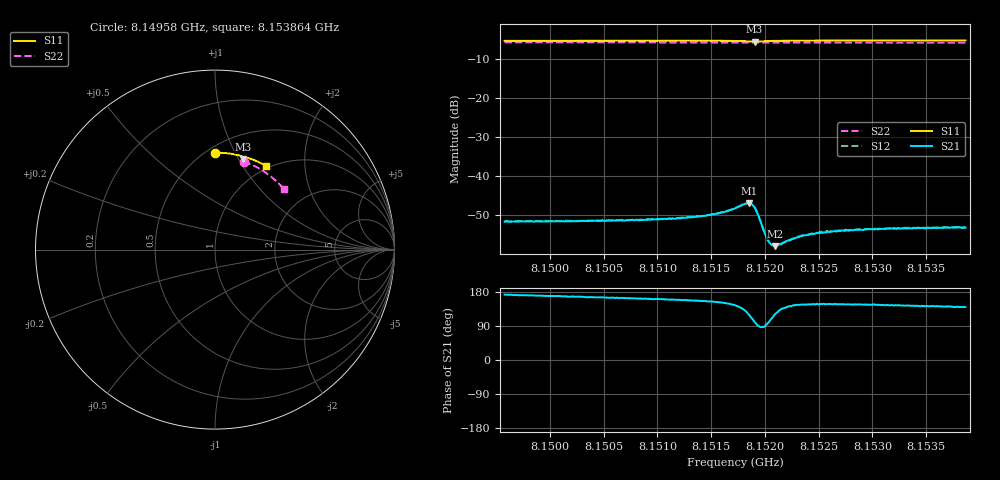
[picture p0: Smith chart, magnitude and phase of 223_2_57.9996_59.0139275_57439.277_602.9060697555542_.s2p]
#  HZ  S  RI  R  50.00
! Rohde & Schwarz Vector Network Analyzer
! Rohde-Schwarz,ZNB20-2Port,1311601062101988,3.16
! Created: UTC 3/21/2024, 1:00:14 AM
! freq[Hz]  re:S11  im:S11  re:S21  im:S21  re:S12  im:S12  re:S22  im:S22
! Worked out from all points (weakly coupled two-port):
!   401 points, 8.14958 GHz to 8.153864 GHz, reference 50 ohm
!   highest |S21| = -46.88 dB at 8.151851 GHz (marker M1); lowest = -57.8 dB at 8.152097 GHz (marker M2)
!   lowest |S11| = -5.6 dB at 8.151904 GHz (marker M3), VSWR 3.23, Z = 37.3 + j52.1 ohm
!   |S11| at or under -10 dB: nowhere
!   |S22| runs from -5.8 to -5.7 dB; largest |S21 - S12| = 0.00013
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8.14958e9  0.000957 0.5394  -0.00261 0.000342  -0.00262 0.00041  0.1598 0.4905
8.1502976e9  0.0512 0.5381  -0.00261 0.000618  -0.00261 0.000677  0.2031 0.4733
8.1510152e9  0.1013 0.5321  -0.00265 0.000926  -0.00268 0.000977  0.2444 0.4523
8.1513044e9  0.1219 0.528  -0.00275 0.00115  -0.00273 0.00122  0.2604 0.4428
8.1514757e9  0.1341 0.5249  -0.00288 0.00138  -0.00289 0.00143  0.2699 0.437
8.1516364e9  0.1464 0.5207  -0.00309 0.00177  -0.00308 0.00182  0.2784 0.4312
8.1517221e9  0.1532 0.5173  -0.00317 0.00226  -0.00314 0.00236  0.283 0.4281
8.1518077e9  0.1589 0.5108  -0.00293 0.00327  -0.00291 0.00335  0.2874 0.4248
8.1518506e9  0.1592 0.5064  -0.0023 0.0039  -0.00223 0.00397  0.2895 0.4231
8.1518827e9  0.1571 0.5042  -0.00139 0.0041  -0.00135 0.00417  0.2909 0.422
8.1519041e9  0.1554 0.504  -0.000724 0.00395  -0.000634 0.00396  0.2921 0.4211
8.1519363e9  0.1536 0.5062  -3.77e-05 0.00325  2.06e-05 0.00326  0.2934 0.4201
8.1520005e9  0.1563 0.5114  2.87e-05 0.00184  6.65e-05 0.00183  0.2969 0.4179
8.1520219e9  0.1583 0.5126  -0.000163 0.00154  -0.000112 0.00157  0.2982 0.4171
8.1520541e9  0.1612 0.5134  -0.000389 0.0013  -0.000391 0.00131  0.2999 0.4159
8.1520969e9  0.1653 0.5139  -0.00068 0.00109  -0.00067 0.00109  0.3021 0.4144
8.1521291e9  0.1682 0.5137  -0.000855 0.00102  -0.000843 0.00103  0.3037 0.4131
8.1523218e9  0.1835 0.5108  -0.0014 0.000963  -0.00139 0.000974  0.3134 0.4055
8.1524396e9  0.192 0.5082  -0.00154 0.001  -0.00158 0.00101  0.3194 0.4006
8.1527074e9  0.2101 0.5017  -0.0017 0.0011  -0.00171 0.0011  0.3324 0.3895
8.1531572e9  0.2393 0.4893  -0.00175 0.00126  -0.00173 0.00128  0.3532 0.3697
8.1538641e9  0.283 0.4668  -0.00168 0.00143  -0.00169 0.00146  0.3836 0.3368
